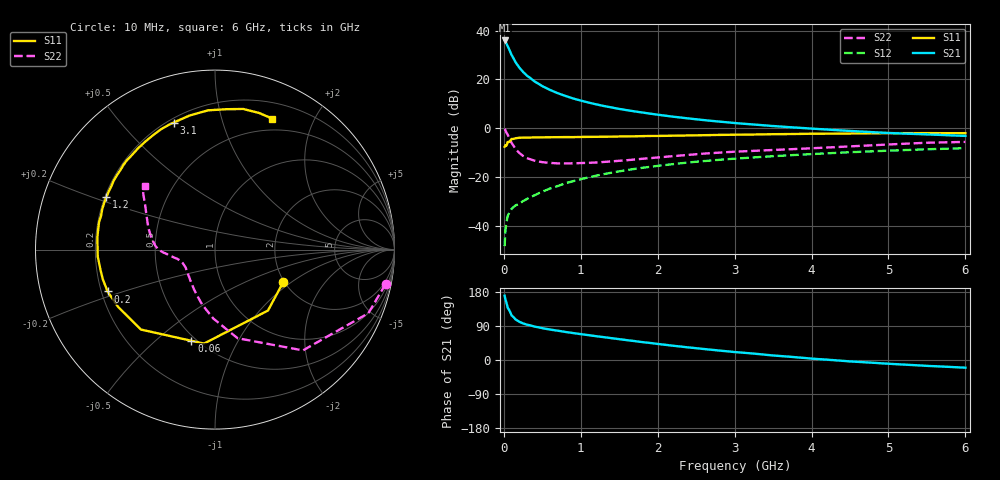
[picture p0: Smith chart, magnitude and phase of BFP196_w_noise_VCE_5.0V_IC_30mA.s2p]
! (c) 2017  Infineon Technologies AG, Munich
! Infineon Technologies  Discrete & RF Semiconductors
! BFP196
! VCE =  5.0 V,  IC =  30 mA
! Common Emitter S-Parameters:  Jan 2017
# GHz  S  MA  R  50
!  f  S11  S21  S12  S22
! GHz  MAG  ANG  MAG  ANG  MAG  ANG  MAG  ANG
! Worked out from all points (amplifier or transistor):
!   77 points, 10 MHz to 6 GHz, reference 50 ohm
!   highest |S21| = 36.0 dB at 10 MHz (marker M1)
!   |S21| within 3 dB of that: start of sweep to 60.2 MHz
!   unconditionally stable (mu >= 1): 654.9 MHz to 2.435 GHz
!   at 130 MHz: K = 0.48, MSG = 30.2 dB, |S12| = -32.1 dB
!   at 2.2 GHz: K = 1.01, MAG = 9.0 dB, |S12| = -14.6 dB
!   at 6 GHz: K = 0.94, MSG = 2.5 dB, |S12| = -8.1 dB
!   lowest NFmin = 1.22 dB at 450 MHz
!   S11 on the Smith chart (normalised r, x): 10 MHz: 1.97, -0.87; 60 MHz: 0.47, -0.66; 200 MHz: 0.23, -0.18; 1.2 GHz: 0.21, +0.22; 3.1 GHz: 0.22, +0.70; 6 GHz: 0.37, +1.47
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0.01  0.4212 -25.6  62.78 169.7  0.0039 84.0  0.9698 -11.4
0.02  0.4499 -49.0  61.15 160.3  0.008 78.3  0.9251 -22.5
0.05  0.5273 -96.7  48.11 137.7  0.0162 58.4  0.7455 -48.9
0.06  0.5248 -104.5  44.52 134.9  0.0174 56.0  0.6889 -52.7
0.1  0.6071 -132.8  31.84 117.5  0.0225 49.2  0.5095 -75.7
0.15  0.627 -149.3  22.79 107.4  0.0265 47.9  0.3835 -91.5
0.2  0.6424 -158.7  17.6 101.1  0.0287 49.5  0.3155 -103.0
0.25  0.6467 -165.3  14.26 96.5  0.0326 51.4  0.274 -111.5
0.3  0.6477 -169.8  11.99 93.3  0.036 53.9  0.2471 -118.8
0.4  0.6545 -176.6  9.098 88.1  0.0429 57.3  0.2182 -129.4
0.5  0.655 178.0  7.298 84.0  0.0508 59.3  0.2036 -137.2
0.6  0.6589 173.8  6.116 80.4  0.0588 61.1  0.197 -143.4
0.7  0.6605 170.2  5.247 77.3  0.0661 61.8  0.1921 -148.1
0.9  0.6621 163.4  4.09 71.1  0.0832 61.8  0.1931 -154.5
1.1  0.6699 157.3  3.374 65.6  0.0995 61.1  0.1977 -159.4
1.2  0.6721 154.1  3.098 62.8  0.1078 60.5  0.2006 -161.3
1.6  0.6856 142.9  2.357 52.4  0.1403 56.9  0.2233 -167.5
2.1  0.7037 129.7  1.817 40.1  0.1782 51.1  0.2622 -173.7
3.1  0.7441 108.1  1.25 19.4  0.2458 38.7  0.3386 174.8
4.1  0.7774 91.3  0.967 2.3  0.3032 26.8  0.3985 159.7
5.1  0.7985 77.4  0.794 -11.0  0.3546 15.3  0.4762 145.5
6  0.7965 66.3  0.701 -20.3  0.394 5.2  0.5292 137.8
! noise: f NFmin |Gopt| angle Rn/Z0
0.45  1.22  0.34  169  0.05
0.9  1.38  0.45  -172  0.06
1.9  2.24  0.68  -135  0.25
2.4  2.64  0.71  -121  0.6
